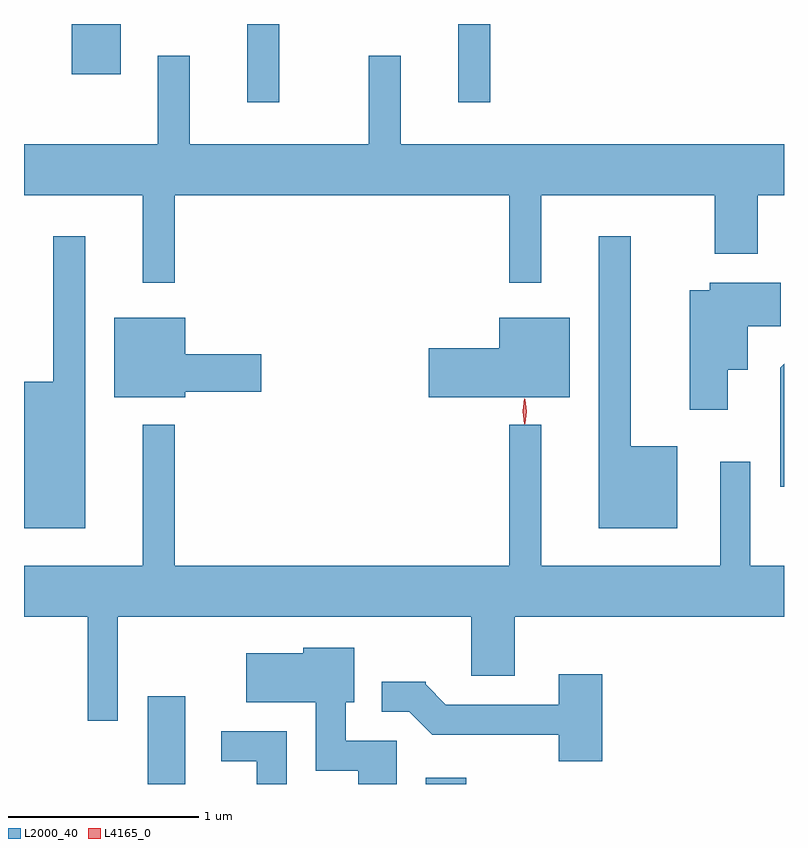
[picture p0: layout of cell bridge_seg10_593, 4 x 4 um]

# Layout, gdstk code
import gdstk
lib = gdstk.Library(unit=1e-6, precision=1e-09)
def R(c, l, rs):  # rectangles x0, y0, x1, y1
    for r in rs: c.add(gdstk.rectangle(r[:2], r[2:], *l))
def P(c, l, *ps):  # polygons
    for p in ps: c.add(gdstk.Polygon(p, *l))
L2000_40 = (2000, 40)
L4165_0 = (4165, 0)

bridge_seg10_593 = lib.new_cell('bridge_seg10_593')
R(bridge_seg10_593, L2000_40, [(758.456,2099.716,758.654,2100.179), (759.921,2099.716,760.134,2099.749), (758.981,2103.303,759.149,2103.716), (760.091,2103.303,760.259,2103.716), (758.056,2103.451,758.314,2103.716)])
P(bridge_seg10_593, L2000_40, [(758.599,2102.816),(760.361,2102.816),(760.361,2102.353),(760.529,2102.353),(760.529,2102.816),(761.441,2102.816),(761.441,2102.506),(761.669,2102.506),(761.669,2102.816),(761.806,2102.816),(761.806,2103.084),(759.789,2103.084),(759.789,2103.548),(759.621,2103.548),(759.621,2103.084),(758.679,2103.084),(758.679,2103.548),(758.511,2103.548),(758.511,2103.084),(757.806,2103.084),(757.806,2102.816),(758.431,2102.816),(758.431,2102.353),(758.599,2102.353)],
  [(761.244,2101.494),(760.999,2101.494),(760.999,2102.598),(760.831,2102.598),(760.831,2101.061),(761.244,2101.061)],
  [(758.129,2102.598),(757.961,2102.598),(757.961,2101.834),(757.806,2101.834),(757.806,2101.061),(758.129,2101.061)],
  [(761.509,2101.896),(761.614,2101.896),(761.614,2102.126),(761.789,2102.126),(761.789,2102.354),(761.416,2102.354),(761.416,2102.314),(761.311,2102.314),(761.311,2101.686),(761.509,2101.686)],
  [(760.679,2102.169),(760.306,2102.169),(760.306,2102.009),(759.936,2102.009),(759.936,2101.751),(760.679,2101.751)],
  [(758.654,2101.781),(759.054,2101.781),(759.054,2101.979),(758.654,2101.979),(758.654,2102.169),(758.281,2102.169),(758.281,2101.751),(758.654,2101.751)],
  [(761.806,2101.927),(761.786,2101.907),(761.786,2101.281),(761.806,2101.281)],
  [(758.299,2100.596),(760.161,2100.596),(760.161,2100.286),(760.389,2100.286),(760.389,2100.596),(761.806,2100.596),(761.806,2100.864),(761.629,2100.864),(761.629,2101.413),(761.471,2101.413),(761.471,2100.864),(760.529,2100.864),(760.529,2101.608),(760.361,2101.608),(760.361,2100.864),(758.599,2100.864),(758.599,2101.608),(758.431,2101.608),(758.431,2100.864),(757.806,2100.864),(757.806,2100.596),(758.141,2100.596),(758.141,2100.048),(758.299,2100.048)],
  [(759.769,2099.944),(759.499,2099.944),(759.499,2100.146),(759.544,2100.146),(759.544,2100.434),(759.276,2100.434),(759.276,2100.404),(758.976,2100.404),(758.976,2100.146),(759.341,2100.146),(759.341,2099.786),(759.566,2099.786),(759.566,2099.716),(759.769,2099.716)],
  [(760.849,2100.294),(760.621,2100.294),(760.621,2100.134),(760.027,2100.134),(759.92,2100.241),(759.92,2100.254),(759.688,2100.254),(759.688,2100.096),(759.834,2100.096),(759.954,2099.976),(760.621,2099.976),(760.621,2099.836),(760.849,2099.836)],
  [(759.189,2099.994),(758.843,2099.994),(758.843,2099.836),(759.031,2099.836),(759.031,2099.716),(759.189,2099.716)])
P(bridge_seg10_593, L4165_0, [(760.442,2101.613),(760.442,2101.613),(760.432,2101.676),(760.442,2101.74),(760.442,2101.74),(760.443,2101.74),(760.452,2101.676),(760.443,2101.613)],
  [(760.44,2101.61),(760.44,2101.61),(760.43,2101.678),(760.439,2101.745),(760.439,2101.746),(760.44,2101.745),(760.45,2101.678),(760.44,2101.61)])

lib.write_gds('bridge_seg10_593.gds')
